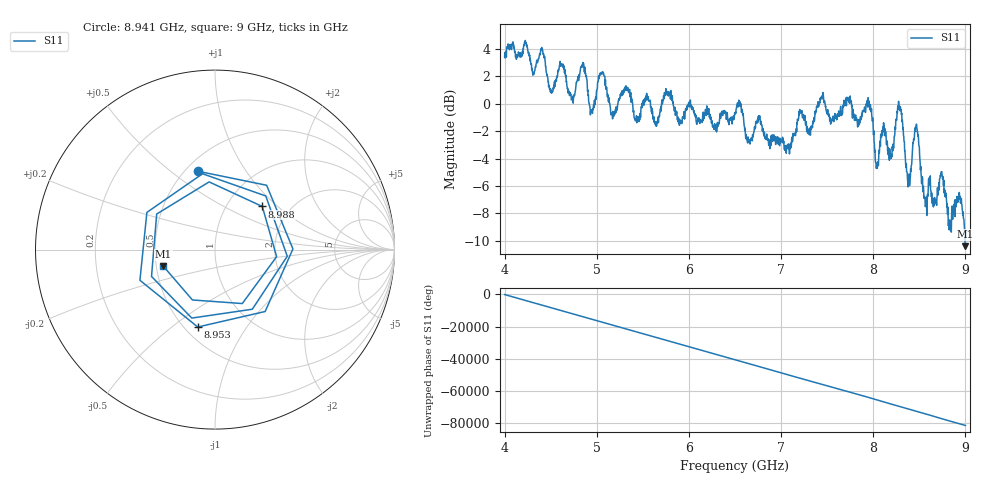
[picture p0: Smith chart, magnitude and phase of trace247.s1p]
! Created with skrf 1.8.0 (http://scikit-rf.org).
# Hz S RI R 50.0
!freq ReS11 ImS11
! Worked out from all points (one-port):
!   1601 points, 4 GHz to 9 GHz, reference 50 ohm
!   lowest |S11| = -10.4 dB at 9 GHz (marker M1), VSWR 1.87, Z = 27.2 - j5.52 ohm
!   |S11| at or under -10 dB: 8.996081 GHz to end of sweep
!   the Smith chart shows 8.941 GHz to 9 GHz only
!   S11 on the Smith chart (normalised r, x): 8.941 GHz: 0.57, +0.63; 8.953 GHz: 0.58, -0.62; 8.988 GHz: 1.45, +0.80; 9 GHz: 0.54, -0.11
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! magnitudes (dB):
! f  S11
! 4 GHz  3.4
! 4.409 GHz  4.0
! 4.506 GHz  0.9
! 4.625 GHz  2.8
! 4.728 GHz  0.3
! 4.853 GHz  2.7
! 4.944 GHz  -0.5
! 5.053 GHz  2.2
! 5.172 GHz  -1.1
! 5.25 GHz  0.4
! 5.875 GHz  -1.2
! 6.5 GHz  -0.8
! 7.125 GHz  -2.8
! 7.438 GHz  0.5
! 7.75 GHz  0.6
! 7.956 GHz  0.2
! 8.041 GHz  -4.5
! 8.109 GHz  -2.0
! 8.197 GHz  -3.9
! 8.284 GHz  -0.2
! 8.375 GHz  -5.7
! 8.466 GHz  -1.6
! 8.562 GHz  -7.0
! 8.741 GHz  -5.0
! 8.941 GHz  -7.0
! 8.953 GHz  -7.1
! 8.988 GHz  -9.0
! 9 GHz  -10.4
